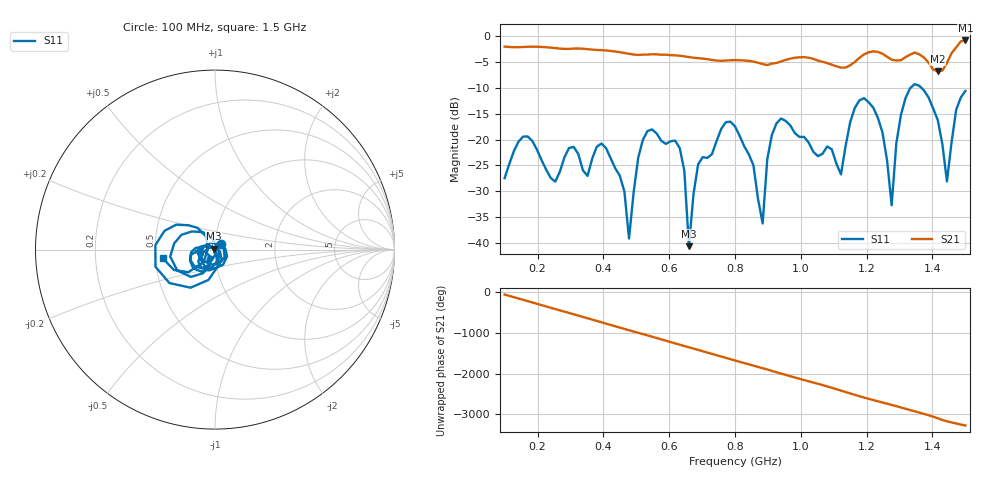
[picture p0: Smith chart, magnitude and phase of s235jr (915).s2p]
! NanoVNA-App
! Date: 2025-09-25 15:11:17
! Start: 100MHz Stop: 1,5GHz Points: 101
! S-Parameter data: F S11 S21 S12 S22
# Hz S RI R 50
!  Frequency  S11_Real  S11_Imag  S21_Real  S21_Imag  S12_Real  S12_Imag  S22_Real  S22_Imag
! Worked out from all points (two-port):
!   101 points, 100 MHz to 1.5 GHz, reference 50 ohm
!   highest |S21| = -0.78 dB at 1.5 GHz (marker M1); lowest = -6.8 dB at 1.416 GHz (marker M2)
!   |S21| within 3 dB of the highest: start of sweep to 636.8 MHz; 1.186 GHz to 1.258 GHz (72.47 MHz wide, 5.93 % of centre) (the widest 2 of 4)
!   lowest |S11| = -40.6 dB at 660 MHz (marker M3), VSWR 1.02, Z = 49.2 + j0.533 ohm
!   |S11| at or under -10 dB: start of sweep to 1.333 GHz; 1.367 GHz to end of sweep
!   S12 and S22 are empty: the file has one direction only
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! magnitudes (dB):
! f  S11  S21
! 100 MHz  -27.5  -2.0
! 156 MHz  -19.4  -2.0
! 338 MHz  -26.0  -2.4
! 408 MHz  -21.6  -2.7
! 478 MHz  -39.2  -3.4
! 520 MHz  -20.1  -3.5
! 576 MHz  -20.2  -3.5
! 632 MHz  -21.6  -3.7
! 660 MHz  -40.6  -4.0
! 688 MHz  -24.8  -4.2
! 800 MHz  -17.4  -4.6
! 884 MHz  -36.2  -5.3
! 926 MHz  -16.9  -5.1
! 1.038 GHz  -22.4  -4.3
! 1.122 GHz  -26.7  -6.0
! 1.192 GHz  -11.9  -3.5
! 1.248 GHz  -18.6  -3.3
! 1.276 GHz  -32.7  -4.5
! 1.332 GHz  -10.0  -3.5
! 1.416 GHz  -16.2  -6.8
! 1.444 GHz  -28.1  -5.1
! 1.5 GHz  -10.6  -0.8
